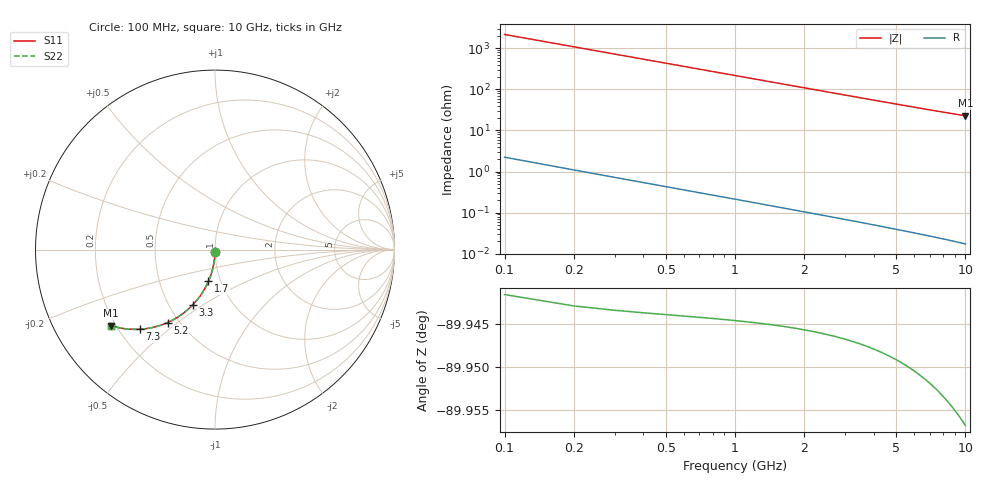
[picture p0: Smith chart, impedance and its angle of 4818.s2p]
# Hz S RI R 50.00
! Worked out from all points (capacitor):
!   100 points, 100 MHz to 10 GHz, reference 50 ohm
!   read as one part in shunt: C = 728 fF near 100 MHz
!   lowest |Z| = 22.8 ohm at 10 GHz (marker M1)
!   S11 on the Smith chart (normalised r, x): 100 MHz: 1.00, -0.02; 1.7 GHz: 0.88, -0.32; 3.3 GHz: 0.65, -0.45; 5.2 GHz: 0.43, -0.46; 7.3 GHz: 0.28, -0.40; 10 GHz: 0.18, -0.32
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1e8  4.73e-05 -0.0108  0.9997 -0.0121  0.9997 -0.0121  4.73e-05 -0.0108
2e8  -0.000353 -0.0215  0.9993 -0.0242  0.9993 -0.0242  -0.000353 -0.0215
3e8  -0.00101 -0.0323  0.9986 -0.0362  0.9986 -0.0362  -0.00101 -0.0323
4e8  -0.00193 -0.043  0.9977 -0.0483  0.9977 -0.0483  -0.00193 -0.043
5e8  -0.00311 -0.0537  0.9965 -0.0603  0.9965 -0.0603  -0.00311 -0.0537
6e8  -0.00454 -0.0643  0.995 -0.0723  0.995 -0.0723  -0.00454 -0.0643
8e8  -0.00817 -0.0854  0.9914 -0.096  0.9914 -0.096  -0.00817 -0.0854
1.1e9  -0.0155 -0.1166  0.984 -0.1312  0.984 -0.1312  -0.0155 -0.1166
1.4e9  -0.0249 -0.1469  0.9745 -0.1655  0.9745 -0.1655  -0.0249 -0.1469
1.7e9  -0.0364 -0.1762  0.963 -0.1988  0.963 -0.1988  -0.0364 -0.1762
1.8e9  -0.0406 -0.1857  0.9587 -0.2096  0.9587 -0.2096  -0.0406 -0.1857
2.1e9  -0.0546 -0.2134  0.9447 -0.2414  0.9447 -0.2414  -0.0546 -0.2134
2.5e9  -0.0757 -0.2482  0.9233 -0.2815  0.9233 -0.2815  -0.0757 -0.2482
3.3e9  -0.1253 -0.3094  0.8733 -0.3534  0.8733 -0.3534  -0.1253 -0.3094
3.4e9  -0.1321 -0.3162  0.8665 -0.3615  0.8665 -0.3615  -0.1321 -0.3162
4.2e9  -0.1891 -0.3638  0.8089 -0.42  0.8089 -0.42  -0.1891 -0.3638
5.1e9  -0.2569 -0.403  0.7403 -0.4714  0.7403 -0.4714  -0.2569 -0.403
5.2e9  -0.2645 -0.4064  0.7326 -0.4762  0.7326 -0.4762  -0.2645 -0.4064
6.7e9  -0.3762 -0.4392  0.6193 -0.5298  0.6193 -0.5298  -0.3762 -0.4392
7.3e9  -0.4183 -0.4437  0.5764 -0.5427  0.5764 -0.5427  -0.4183 -0.4437
8.4e9  -0.4898 -0.4421  0.5032 -0.5567  0.5032 -0.5567  -0.4898 -0.4421
1e10  -0.5794 -0.4234  0.4106 -0.5611  0.4106 -0.5611  -0.5794 -0.4234
